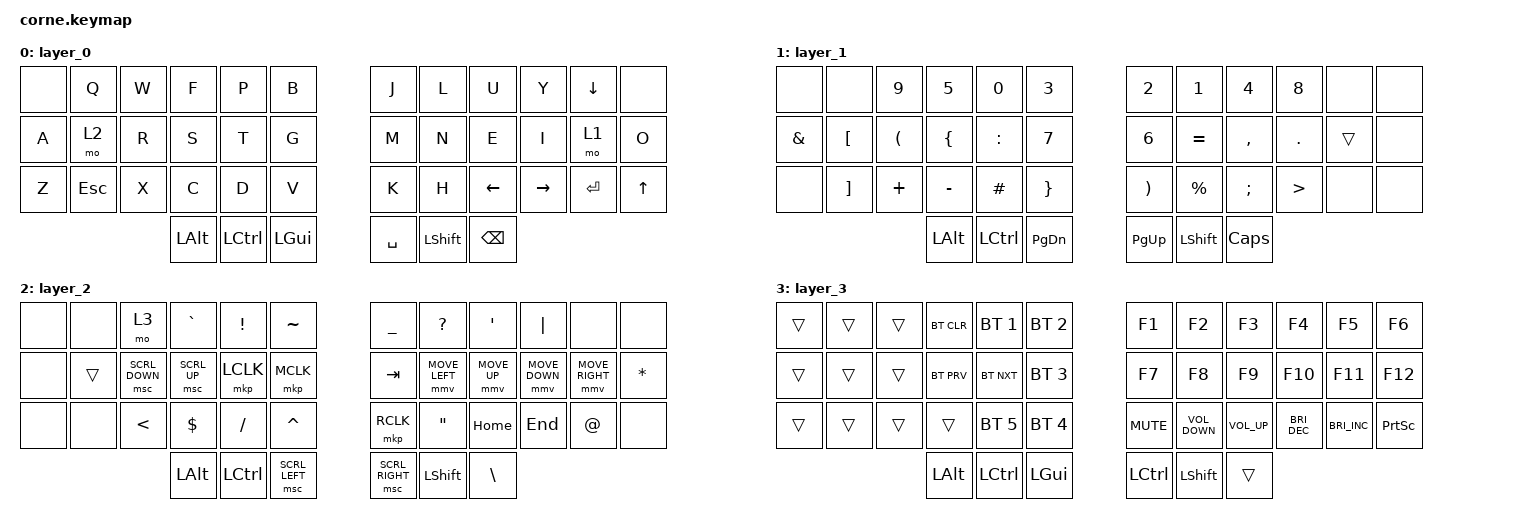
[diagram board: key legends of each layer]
/*
 * Copyright (c) 2020 The ZMK Contributors
 *
 * SPDX-License-Identifier: MIT
 */

#include <behaviors.dtsi>
#include <dt-bindings/zmk/keys.h>
#include <dt-bindings/zmk/bt.h>
#include <dt-bindings/zmk/pointing.h>

#define ZMK_POINTING_DEFAULT_MOVE_VAL 1500
#define ZMK_POINTING_DEFAULT_SCRL_VAL 20

/ {
        keymap {
                compatible = "zmk,keymap";

                layer_0 {
                        bindings = <
   &none        &kp Q        &kp W &kp F              &kp P          &kp B         &kp J            &kp L              &kp U     &kp Y     &kp DOWN         &none
   &kp A        &mo 2        &kp R &kp S              &kp T          &kp G         &kp M            &kp N              &kp E     &kp I     &mo 1            &kp O
   &kp Z        &kp ESCAPE   &kp X &kp C              &kp D          &kp V         &kp K            &kp H              &kp LEFT  &kp RIGHT &kp ENTER        &kp UP
                                   &kp LEFT_ALT &kp LEFT_CONTROL &kp LEFT_GUI     &kp SPACE  &kp LEFT_SHIFT  &kp BACKSPACE
                        >;
                };

                layer_1 {
                        bindings = <
   &none         &none             &kp N9               &kp N5           &kp N0       &kp N3                   &kp N2                &kp N1      &kp N4          &kp N8            &none            &none
   &kp AMPERSAND &kp LEFT_BRACKET  &kp LEFT_PARENTHESIS &kp LEFT_BRACE   &kp COLON    &kp N7                   &kp N6                &kp EQUAL   &kp COMMA       &kp DOT           &trans           &none
   &none         &kp RIGHT_BRACKET &kp PLUS             &kp MINUS        &kp HASH     &kp RIGHT_BRACE          &kp RIGHT_PARENTHESIS &kp PERCENT &kp SEMICOLON   &kp GREATER_THAN  &none            &none
                          	       &kp LEFT_ALT         &kp LEFT_CONTROL   &kp PAGE_DOWN               &kp PAGE_UP                &kp LEFT_SHIFT      &kp CAPSLOCK
                        >;
                };

                layer_2 {
                        bindings = <
   &none  &none   &mo 3           &kp GRAVE     &kp EXCLAMATION  &kp TILDE           &kp UNDERSCORE  &kp QUESTION       &kp SINGLE_QUOTE  &kp PIPE        &none            &none
   &none  &trans  &msc SCRL_DOWN  &msc SCRL_UP  &mkp LCLK        &mkp MCLK           &kp TAB         &mmv MOVE_LEFT     &mmv MOVE_UP      &mmv MOVE_DOWN  &mmv MOVE_RIGHT  &kp ASTERISK
   &none  &none   &kp LESS_THAN   &kp DOLLAR    &kp SLASH        &kp CARET           &mkp RCLK       &kp DOUBLE_QUOTES  &kp HOME          &kp END         &kp AT           &none
                                                             &kp LEFT_ALT    &kp LEFT_CONTROL  &msc SCRL_LEFT     &msc SCRL_RIGHT  &kp LEFT_SHIFT  &kp BACKSLASH
                        >;
                };

                layer_3 {
                        bindings = <
   &trans  &trans  &trans  &bt BT_CLR  &bt BT_SEL 1  &bt BT_SEL 2          &kp F1      &kp F2             &kp F3           &kp F4                &kp F5                &kp F6
   &trans  &trans  &trans  &bt BT_PRV  &bt BT_NXT    &bt BT_SEL 3          &kp F7      &kp F8             &kp F9           &kp F10               &kp F11               &kp F12
   &trans  &trans  &trans  &trans      &bt BT_SEL 5  &bt BT_SEL 4          &kp C_MUTE  &kp C_VOLUME_DOWN  &kp C_VOLUME_UP  &kp C_BRIGHTNESS_DEC  &kp C_BRIGHTNESS_INC  &kp PRINTSCREEN
                          	        &kp LEFT_ALT  &kp LEFT_CONTROL  &kp LEFT_GUI  &kp LEFT_CONTROL  &kp LEFT_SHIFT  &trans
                        >;
                };
        };
};
